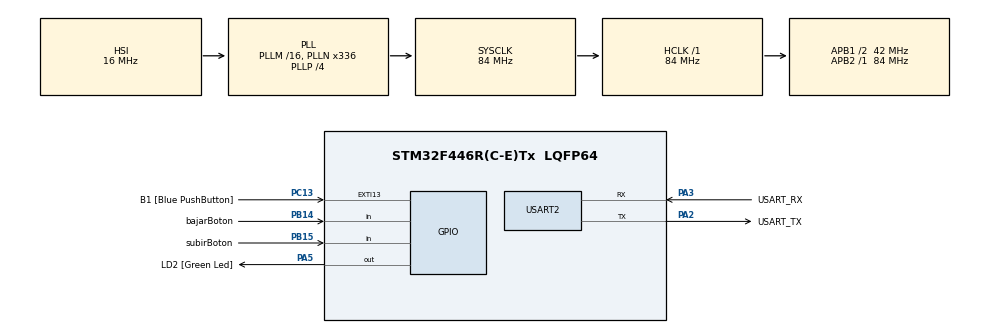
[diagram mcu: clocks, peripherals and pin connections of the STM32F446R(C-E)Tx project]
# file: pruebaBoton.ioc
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Mcu.Family=STM32F4
Mcu.Name=STM32F446R(C-E)Tx
Mcu.Package=LQFP64
NVIC.PriorityGroup=NVIC_PRIORITYGROUP_0
PA13.GPIO_Label=TMS
PA13.Mode=Serial_Wire
PA13.Signal=SYS_JTMS-SWDIO
PA14.GPIO_Label=TCK
PA14.Mode=Serial_Wire
PA14.Signal=SYS_JTCK-SWCLK
PA2.GPIO_Label=USART_TX
PA2.Mode=Asynchronous
PA2.Signal=USART2_TX
PA3.GPIO_Label=USART_RX
PA3.Mode=Asynchronous
PA3.Signal=USART2_RX
PA5.GPIO_Label=LD2 [Green Led]
PA5.Signal=GPIO_Output
PB14.GPIO_Label=bajarBoton
PB14.GPIO_PuPd=GPIO_PULLDOWN
PB14.Signal=GPIO_Input
PB15.GPIO_Label=subirBoton
PB15.GPIO_PuPd=GPIO_PULLDOWN
PB15.Signal=GPIO_Input
PB3.GPIO_Label=SWO
PB3.Signal=SYS_JTDO-SWO
PC13.GPIO_Label=B1 [Blue PushButton]
PC13.GPIO_ModeDefaultEXTI=GPIO_MODE_IT_FALLING
PC13.Signal=GPXTI13
PC14-OSC32_IN.Mode=LSE-External-Oscillator
PC14-OSC32_IN.Signal=RCC_OSC32_IN
PC15-OSC32_OUT.Mode=LSE-External-Oscillator
PC15-OSC32_OUT.Signal=RCC_OSC32_OUT
PH0-OSC_IN.Mode=HSE-External-Oscillator
PH0-OSC_IN.Signal=RCC_OSC_IN
PH1-OSC_OUT.Mode=HSE-External-Oscillator
PH1-OSC_OUT.Signal=RCC_OSC_OUT
ProjectManager.HeapSize=0x200
ProjectManager.StackSize=0x400
ProjectManager.TargetToolchain=STM32CubeIDE
RCC.48MHZClocksFreq_Value=84000000
RCC.AHBFreq_Value=84000000
RCC.APB1CLKDivider=RCC_HCLK_DIV2
RCC.APB1Freq_Value=42000000
RCC.APB1TimFreq_Value=84000000
RCC.APB2Freq_Value=84000000
RCC.APB2TimFreq_Value=84000000
RCC.CortexFreq_Value=84000000
RCC.FLatency-AdvancedSettings=FLASH_LATENCY_2
RCC.HCLKFreq_Value=84000000
RCC.HSE_VALUE=8000000
RCC.HSI_VALUE=16000000
RCC.PLLN=336
RCC.PLLP=RCC_PLLP_DIV4
RCC.SYSCLKFreq_VALUE=84000000
RCC.SYSCLKSource=RCC_SYSCLKSOURCE_PLLCLK
RCC.USBFreq_Value=168000000
RCC.VCOOutputFreq_Value=336000000
USART2.VirtualMode=VM_ASYNC
board=NUCLEO-F446RE

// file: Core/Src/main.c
/* USER CODE BEGIN Header */
/**
  ******************************************************************************
  * @file           : main.c
  * @brief          : Main program body
  ******************************************************************************
  * @attention
  *
  * Copyright (c) 2023 STMicroelectronics.
  * All rights reserved.
  *
  * This software is licensed under terms that can be found in the LICENSE file
  * in the root directory of this software component.
  * If no LICENSE file comes with this software, it is provided AS-IS.
  *
  ******************************************************************************
  */
/* USER CODE END Header */
#include "main.h"

/* USER CODE BEGIN Includes */
#include "stm32f4xx_hal.h"

#include <stdbool.h>
#include <stdint.h>
#include "stdio.h"
/* USER CODE END Includes */

UART_HandleTypeDef huart2;

void SystemClock_Config(void);
static void MX_GPIO_Init(void);
static void MX_USART2_UART_Init(void);

int main(void)
{

  /* MCU Configuration--------------------------------------------------------*/

  /* Reset of all peripherals, Initializes the Flash interface and the Systick. */
  HAL_Init();

  /* Configure the system clock */
  SystemClock_Config();

  /* Initialize all configured peripherals */
  MX_GPIO_Init();
  MX_USART2_UART_Init();
  /* USER CODE BEGIN 2 */

  uint8_t volumen = 0x7F;

  void updateGlobalVolume(uint8_t direccion) {
   	// 'direccion' puede ser 1 para subir volumen, -1 para bajar volumen
   	if (direccion == 1 && volumen < 0x7F) { //volumen maximo no puede exceder de 127
   		volumen++;
   	} else if (direccion == -1 && volumen > 0X00) { //volumen minimo no puede ser negativo
   		volumen--;
   	}
   }

  void handleButtonPress() {
  	uint8_t subirBoton = false; //boton de subir volumen
  	uint8_t bajarBoton = false; //boton de bajar volumen
  	subirBoton = HAL_GPIO_ReadPin(subirBoton_GPIO_Port, subirBoton_Pin);
  	bajarBoton = HAL_GPIO_ReadPin(bajarBoton_GPIO_Port, bajarBoton_Pin);
  	if (subirBoton) {
  		updateGlobalVolume(1);  // Subir volumen
  	}
  	if (bajarBoton) {
  		updateGlobalVolume(-1);  // Bajar volumen
  	}
  }

  /* USER CODE END 2 */

  /* Infinite loop */
  while (1)
  {
	  handleButtonPress();
  }
}

void SystemClock_Config(void)
{
  RCC_OscInitTypeDef RCC_OscInitStruct = {0};
  RCC_ClkInitTypeDef RCC_ClkInitStruct = {0};

  /** Configure the main internal regulator output voltage
  */
  __HAL_RCC_PWR_CLK_ENABLE();
  __HAL_PWR_VOLTAGESCALING_CONFIG(PWR_REGULATOR_VOLTAGE_SCALE3);

  /** Initializes the RCC Oscillators according to the specified parameters
  * in the RCC_OscInitTypeDef structure.
  */
  RCC_OscInitStruct.OscillatorType = RCC_OSCILLATORTYPE_HSI;
  RCC_OscInitStruct.HSIState = RCC_HSI_ON;
  RCC_OscInitStruct.HSICalibrationValue = RCC_HSICALIBRATION_DEFAULT;
  RCC_OscInitStruct.PLL.PLLState = RCC_PLL_ON;
  RCC_OscInitStruct.PLL.PLLSource = RCC_PLLSOURCE_HSI;
  RCC_OscInitStruct.PLL.PLLM = 16;
  RCC_OscInitStruct.PLL.PLLN = 336;
  RCC_OscInitStruct.PLL.PLLP = RCC_PLLP_DIV4;
  RCC_OscInitStruct.PLL.PLLQ = 2;
  RCC_OscInitStruct.PLL.PLLR = 2;
  if (HAL_RCC_OscConfig(&RCC_OscInitStruct) != HAL_OK)
  {
    Error_Handler();
  }

  /** Initializes the CPU, AHB and APB buses clocks
  */
  RCC_ClkInitStruct.ClockType = RCC_CLOCKTYPE_HCLK|RCC_CLOCKTYPE_SYSCLK
                              |RCC_CLOCKTYPE_PCLK1|RCC_CLOCKTYPE_PCLK2;
  RCC_ClkInitStruct.SYSCLKSource = RCC_SYSCLKSOURCE_PLLCLK;
  RCC_ClkInitStruct.AHBCLKDivider = RCC_SYSCLK_DIV1;
  RCC_ClkInitStruct.APB1CLKDivider = RCC_HCLK_DIV2;
  RCC_ClkInitStruct.APB2CLKDivider = RCC_HCLK_DIV1;

  if (HAL_RCC_ClockConfig(&RCC_ClkInitStruct, FLASH_LATENCY_2) != HAL_OK)
  {
    Error_Handler();
  }
}

static void MX_USART2_UART_Init(void)
{

  huart2.Instance = USART2;
  huart2.Init.BaudRate = 115200;
  huart2.Init.WordLength = UART_WORDLENGTH_8B;
  huart2.Init.StopBits = UART_STOPBITS_1;
  huart2.Init.Parity = UART_PARITY_NONE;
  huart2.Init.Mode = UART_MODE_TX_RX;
  huart2.Init.HwFlowCtl = UART_HWCONTROL_NONE;
  huart2.Init.OverSampling = UART_OVERSAMPLING_16;
  if (HAL_UART_Init(&huart2) != HAL_OK)
  {
    Error_Handler();
  }

}

static void MX_GPIO_Init(void)
{
  GPIO_InitTypeDef GPIO_InitStruct = {0};

  /* GPIO Ports Clock Enable */
  __HAL_RCC_GPIOC_CLK_ENABLE();
  __HAL_RCC_GPIOH_CLK_ENABLE();
  __HAL_RCC_GPIOA_CLK_ENABLE();
  __HAL_RCC_GPIOB_CLK_ENABLE();

  /*Configure GPIO pin Output Level */
  HAL_GPIO_WritePin(LD2_GPIO_Port, LD2_Pin, GPIO_PIN_RESET);

  /*Configure GPIO pin : B1_Pin */
  GPIO_InitStruct.Pin = B1_Pin;
  GPIO_InitStruct.Mode = GPIO_MODE_IT_FALLING;
  GPIO_InitStruct.Pull = GPIO_NOPULL;
  HAL_GPIO_Init(B1_GPIO_Port, &GPIO_InitStruct);

  /*Configure GPIO pin : LD2_Pin */
  GPIO_InitStruct.Pin = LD2_Pin;
  GPIO_InitStruct.Mode = GPIO_MODE_OUTPUT_PP;
  GPIO_InitStruct.Pull = GPIO_NOPULL;
  GPIO_InitStruct.Speed = GPIO_SPEED_FREQ_LOW;
  HAL_GPIO_Init(LD2_GPIO_Port, &GPIO_InitStruct);

  /*Configure GPIO pins : bajarBoton_Pin subirBoton_Pin */
  GPIO_InitStruct.Pin = bajarBoton_Pin|subirBoton_Pin;
  GPIO_InitStruct.Mode = GPIO_MODE_INPUT;
  GPIO_InitStruct.Pull = GPIO_PULLDOWN;
  HAL_GPIO_Init(GPIOB, &GPIO_InitStruct);

}

void Error_Handler(void)
{
  __disable_irq();
  while (1)
  {
  }
}
